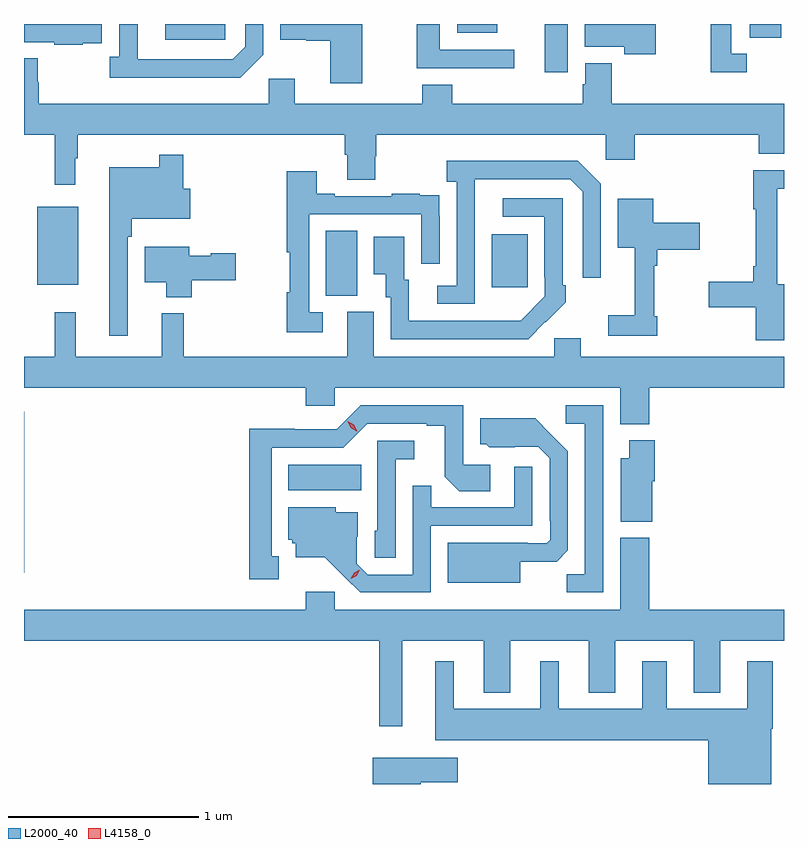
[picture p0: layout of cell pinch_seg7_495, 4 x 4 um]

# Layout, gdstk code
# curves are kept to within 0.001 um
import gdstk
lib = gdstk.Library(unit=1e-6, precision=1e-09)
def R(c, l, rs):  # rectangles x0, y0, x1, y1
    for r in rs: c.add(gdstk.rectangle(r[:2], r[2:], *l))
def P(c, l, *ps):  # polygons
    for p in ps: c.add(gdstk.Polygon(p, *l))
L2000_40 = (2000, 40)
L4158_0 = (4158, 0)

pinch_seg7_495 = lib.new_cell('pinch_seg7_495')
R(pinch_seg7_495, L2000_40, [(130.875,1076.898,130.877,1077.745), (132.266,1077.332,132.65,1077.466), (132.464,1078.357,132.628,1078.7), (133.337,1078.401,133.525,1078.681), (130.946,1078.415,131.161,1078.825), (133.616,1079.532,133.738,1079.787), (131.619,1079.703,131.934,1079.787), (134.696,1079.715,134.86,1079.787), (133.154,1079.741,133.366,1079.787)])
P(pinch_seg7_495, L2000_40, [(134.68,1079.631),(134.598,1079.631),(134.598,1079.787),(134.49,1079.787),(134.49,1079.534),(134.68,1079.534)],
  [(134.2,1079.787),(133.826,1079.787),(133.826,1079.666),(134.035,1079.666),(134.035,1079.628),(134.2,1079.628)],
  [(132.135,1079.625),(132.135,1079.787),(132.039,1079.787),(132.039,1079.667),(131.973,1079.601),(131.473,1079.601),(131.473,1079.787),(131.376,1079.787),(131.376,1079.614),(131.325,1079.614),(131.325,1079.504),(132.014,1079.504)],
  [(132.654,1079.787),(132.224,1079.787),(132.224,1079.705),(132.36,1079.705),(132.36,1079.698),(132.488,1079.698),(132.488,1079.475),(132.654,1079.475)],
  [(131.183,1079.685),(131.285,1079.685),(131.285,1079.787),(130.875,1079.787),(130.875,1079.691),(131.035,1079.691),(131.035,1079.679),(131.183,1079.679)],
  [(133.456,1079.652),(133.063,1079.652),(133.063,1079.787),(132.943,1079.787),(132.943,1079.555),(133.456,1079.555)],
  [(130.952,1079.481),(130.947,1079.481),(130.947,1079.606),(130.875,1079.606),(130.875,1079.204),(131.037,1079.204),(131.037,1078.941),(131.146,1078.941),(131.146,1079.081),(131.158,1079.081),(131.158,1079.204),(132.563,1079.204),(132.563,1079.098),(132.575,1079.098),(132.575,1078.966),(132.723,1078.966),(132.723,1079.091),(132.728,1079.091),(132.728,1079.204),(133.938,1079.204),(133.938,1079.073),(134.09,1079.073),(134.09,1079.204),(134.741,1079.204),(134.741,1079.105),(134.875,1079.105),(134.875,1079.368),(133.969,1079.368),(133.969,1079.581),(133.829,1079.581),(133.829,1079.469),(133.817,1079.469),(133.817,1079.368),(133.13,1079.368),(133.13,1079.467),(132.97,1079.467),(132.97,1079.368),(132.301,1079.368),(132.301,1079.5),(132.162,1079.5),(132.162,1079.368),(130.952,1079.368)],
  [(131.421,1078.667),(131.441,1078.667),(131.441,1078.763),(131.749,1078.763),(131.749,1078.921),(131.714,1078.921),(131.714,1079.098),(131.586,1079.098),(131.586,1079.032),(131.324,1079.032),(131.324,1078.146),(131.421,1078.146)],
  [(133.248,1078.971),(133.749,1078.971),(133.815,1078.905),(133.815,1078.452),(133.911,1078.452),(133.911,1078.947),(133.79,1079.068),(133.101,1079.068),(133.101,1078.958),(133.152,1078.958),(133.152,1078.41),(133.05,1078.41),(133.05,1078.314),(133.248,1078.314)],
  [(134.875,1078.417),(134.839,1078.417),(134.839,1078.92),(134.875,1078.92),(134.875,1079.018),(134.714,1079.018),(134.714,1078.813),(134.726,1078.813),(134.726,1078.513),(134.714,1078.513),(134.714,1078.43),(134.478,1078.43),(134.478,1078.295),(134.726,1078.295),(134.726,1078.122),(134.875,1078.122)],
  [(132.448,1078.269),(132.375,1078.269),(132.375,1078.785),(132.966,1078.785),(132.966,1078.524),(133.062,1078.524),(133.062,1078.778),(133.061,1078.778),(133.061,1078.887),(132.959,1078.887),(132.959,1078.894),(132.811,1078.894),(132.811,1078.881),(132.511,1078.881),(132.511,1078.894),(132.415,1078.894),(132.415,1079.011),(132.259,1079.011),(132.259,1078.587),(132.274,1078.587),(132.274,1078.376),(132.259,1078.376),(132.259,1078.164),(132.448,1078.164)],
  [(133.619,1078.219),(133.62,1078.218),(133.725,1078.323),(133.725,1078.411),(133.71,1078.411),(133.71,1078.869),(133.395,1078.869),(133.395,1078.773),(133.614,1078.773),(133.614,1078.453),(133.617,1078.453),(133.617,1078.353),(133.489,1078.225),(132.901,1078.224),(132.901,1078.44),(132.877,1078.44),(132.877,1078.666),(132.716,1078.666),(132.716,1078.469),(132.779,1078.469),(132.779,1078.35),(132.804,1078.35),(132.804,1078.128),(133.528,1078.128)],
  [(134.207,1078.249),(134.192,1078.249),(134.192,1078.514),(134.207,1078.514),(134.207,1078.598),(134.431,1078.598),(134.431,1078.74),(134.188,1078.74),(134.188,1078.867),(134,1078.867),(134,1078.61),(134.09,1078.61),(134.09,1078.255),(133.95,1078.255),(133.95,1078.146),(134.207,1078.146)],
  [(131.759,1078.438),(131.989,1078.438),(131.989,1078.58),(131.859,1078.58),(131.859,1078.567),(131.746,1078.567),(131.746,1078.615),(131.51,1078.615),(131.51,1078.427),(131.624,1078.427),(131.624,1078.349),(131.759,1078.349)],
  [(134.165,1077.872),(134.875,1077.872),(134.875,1078.036),(133.804,1078.036),(133.804,1078.134),(133.665,1078.134),(133.665,1078.036),(132.715,1078.036),(132.715,1078.272),(132.575,1078.272),(132.575,1078.036),(131.717,1078.036),(131.717,1078.264),(131.6,1078.264),(131.6,1078.036),(131.147,1078.036),(131.147,1078.27),(131.037,1078.27),(131.037,1078.036),(130.875,1078.036),(130.875,1077.872),(132.359,1077.872),(132.359,1077.779),(132.51,1077.779),(132.51,1077.872),(134.012,1077.872),(134.012,1077.68),(134.165,1077.68)],
  [(133.923,1077.78),(133.725,1077.78),(133.725,1077.684),(133.827,1077.684),(133.827,1076.891),(133.732,1076.891),(133.732,1076.796),(133.923,1076.796)],
  [(132.217,1076.985),(132.178,1076.985),(132.178,1077.558),(132.555,1077.558),(132.681,1077.684),(132.995,1077.684),(132.995,1077.672),(133.089,1077.672),(133.089,1077.404),(133.165,1077.328),(133.33,1077.328),(133.33,1077.468),(133.188,1077.468),(133.188,1077.78),(132.648,1077.78),(132.522,1077.654),(132.3,1077.654),(132.3,1077.656),(132.06,1077.656),(132.06,1076.865),(132.217,1076.865)],
  [(133.486,1076.957),(133.678,1076.957),(133.737,1077.016),(133.737,1077.538),(133.565,1077.712),(133.277,1077.712),(133.277,1077.576),(133.308,1077.576),(133.324,1077.56),(133.581,1077.561),(133.641,1077.501),(133.641,1077.172),(133.644,1077.172),(133.644,1077.072),(133.626,1077.054),(133.526,1077.054),(133.526,1077.058),(133.106,1077.058),(133.106,1076.846),(133.486,1076.846)],
  [(134.182,1077.381),(134.195,1077.381),(134.195,1077.595),(134.06,1077.595),(134.06,1077.502),(134.015,1077.502),(134.015,1077.167),(134.182,1077.167)],
  [(132.831,1077.497),(132.928,1077.497),(132.928,1077.594),(132.735,1077.594),(132.735,1077.12),(132.72,1077.12),(132.72,1076.977),(132.831,1076.977)],
  [(133.017,1077.147),(133.551,1077.147),(133.551,1077.457),(133.455,1077.457),(133.455,1077.243),(133.019,1077.243),(133.019,1077.356),(132.921,1077.356),(132.921,1076.889),(132.684,1076.889),(132.627,1076.946),(132.627,1077.088),(132.631,1077.088),(132.631,1077.217),(132.516,1077.217),(132.516,1077.244),(132.266,1077.244),(132.266,1077.072),(132.288,1077.072),(132.288,1077.054),(132.305,1077.054),(132.305,1076.981),(132.457,1076.981),(132.644,1076.796),(133.017,1076.796)],
  [(132.865,1076.54),(133.295,1076.54),(133.295,1076.267),(133.435,1076.267),(133.435,1076.54),(133.847,1076.54),(133.847,1076.267),(133.987,1076.267),(133.987,1076.54),(134.399,1076.54),(134.399,1076.267),(134.539,1076.267),(134.539,1076.54),(134.875,1076.54),(134.875,1076.704),(134.165,1076.704),(134.165,1077.082),(134.012,1077.082),(134.012,1076.704),(132.51,1076.704),(132.51,1076.8),(132.359,1076.8),(132.359,1076.704),(130.875,1076.704),(130.875,1076.54),(132.744,1076.54),(132.744,1076.091),(132.865,1076.091)],
  [(134.809,1076.078),(134.817,1076.078),(134.817,1076.434),(134.681,1076.434),(134.681,1076.182),(134.257,1076.182),(134.257,1076.434),(134.129,1076.434),(134.129,1076.182),(133.69,1076.182),(133.69,1076.434),(133.592,1076.434),(133.592,1076.182),(133.138,1076.182),(133.138,1076.434),(133.04,1076.434),(133.04,1076.018),(134.477,1076.018),(134.477,1075.787),(134.809,1075.787)],
  [(132.964,1075.795),(133.159,1075.795),(133.159,1075.924),(132.71,1075.924),(132.71,1075.787),(132.964,1075.787)])
P(pinch_seg7_495, L4158_0, [(132.594,1076.868),(132.594,1076.868),(132.612,1076.898),(132.642,1076.914),(132.643,1076.914),(132.643,1076.914),(132.626,1076.884),(132.595,1076.868)],
  [(132.627,1077.644),(132.596,1077.663),(132.578,1077.695),(132.578,1077.695),(132.578,1077.695),(132.61,1077.677),(132.628,1077.644),(132.628,1077.644)])

lib.write_gds('pinch_seg7_495.gds')
